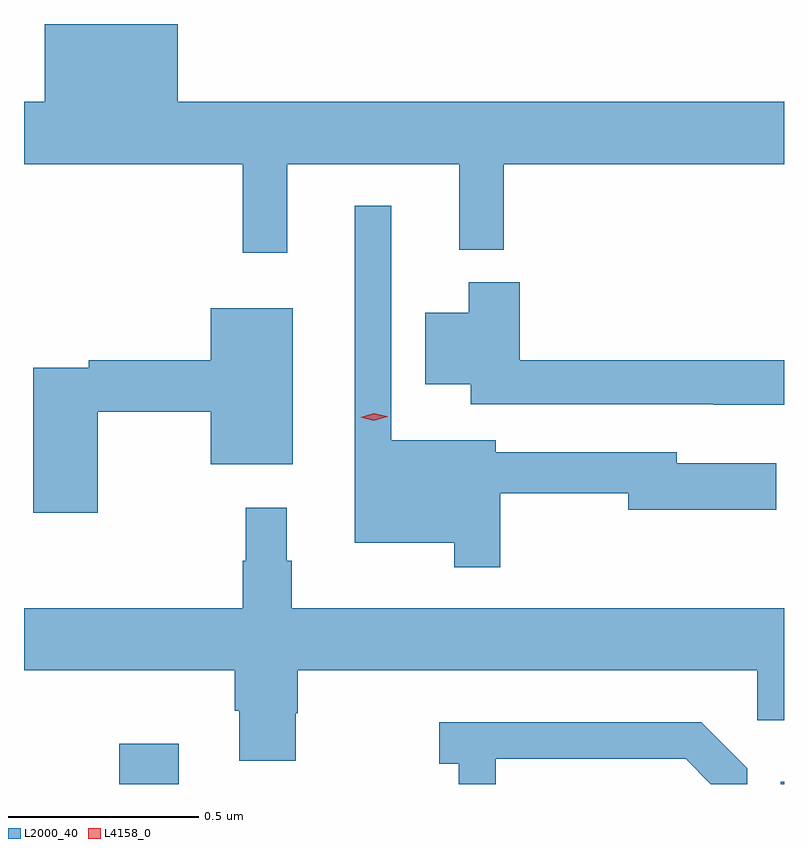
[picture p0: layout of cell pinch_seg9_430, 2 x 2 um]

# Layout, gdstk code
import gdstk
lib = gdstk.Library(unit=1e-6, precision=1e-09)
def R(c, l, rs):  # rectangles x0, y0, x1, y1
    for r in rs: c.add(gdstk.rectangle(r[:2], r[2:], *l))
def P(c, l, *ps):  # polygons
    for p in ps: c.add(gdstk.Polygon(p, *l))
L2000_40 = (2000, 40)
L4158_0 = (4158, 0)

pinch_seg9_430 = lib.new_cell('pinch_seg9_430')
R(pinch_seg9_430, L2000_40, [(235.045,1220.097,235.201,1220.203), (236.786,1220.097,236.794,1220.103)])
P(pinch_seg9_430, L2000_40, [(235.487,1221.728),(235.94,1221.728),(235.94,1221.503),(236.057,1221.503),(236.057,1221.728),(236.794,1221.728),(236.794,1221.892),(235.198,1221.892),(235.198,1222.097),(234.848,1222.097),(234.848,1221.892),(234.794,1221.892),(234.794,1221.728),(235.369,1221.728),(235.369,1221.495),(235.487,1221.495)],
  [(236.047,1220.862),(236.384,1220.862),(236.384,1220.819),(236.773,1220.819),(236.773,1220.941),(236.512,1220.941),(236.512,1220.97),(236.035,1220.97),(236.035,1221.001),(235.761,1221.001),(235.761,1221.619),(235.664,1221.619),(235.664,1220.732),(235.926,1220.732),(235.926,1220.667),(236.047,1220.667)],
  [(236.794,1221.212),(236.099,1221.212),(236.099,1221.418),(235.964,1221.418),(235.964,1221.337),(235.85,1221.337),(235.85,1221.149),(235.97,1221.149),(235.97,1221.096),(236.608,1221.096),(236.608,1221.095),(236.794,1221.095)],
  [(234.988,1221.076),(235.286,1221.076),(235.286,1220.939),(235.501,1220.939),(235.501,1221.349),(235.286,1221.349),(235.286,1221.212),(234.964,1221.212),(234.964,1221.192),(234.818,1221.192),(234.818,1220.811),(234.988,1220.811)],
  [(235.509,1220.283),(235.514,1220.283),(235.514,1220.396),(236.724,1220.396),(236.724,1220.265),(236.794,1220.265),(236.794,1220.56),(235.498,1220.56),(235.498,1220.684),(235.486,1220.684),(235.486,1220.824),(235.377,1220.824),(235.377,1220.684),(235.369,1220.684),(235.369,1220.56),(234.794,1220.56),(234.794,1220.396),(235.349,1220.396),(235.349,1220.29),(235.361,1220.29),(235.361,1220.158),(235.509,1220.158)],
  [(236.035,1220.163),(236.535,1220.163),(236.601,1220.097),(236.697,1220.097),(236.697,1220.139),(236.576,1220.26),(235.887,1220.26),(235.887,1220.15),(235.938,1220.15),(235.938,1220.097),(236.035,1220.097)])
P(pinch_seg9_430, L4158_0, [(235.715,1221.053),(235.68,1221.062),(235.679,1221.062),(235.68,1221.062),(235.715,1221.073),(235.75,1221.065),(235.751,1221.064),(235.75,1221.064)])

lib.write_gds('pinch_seg9_430.gds')
